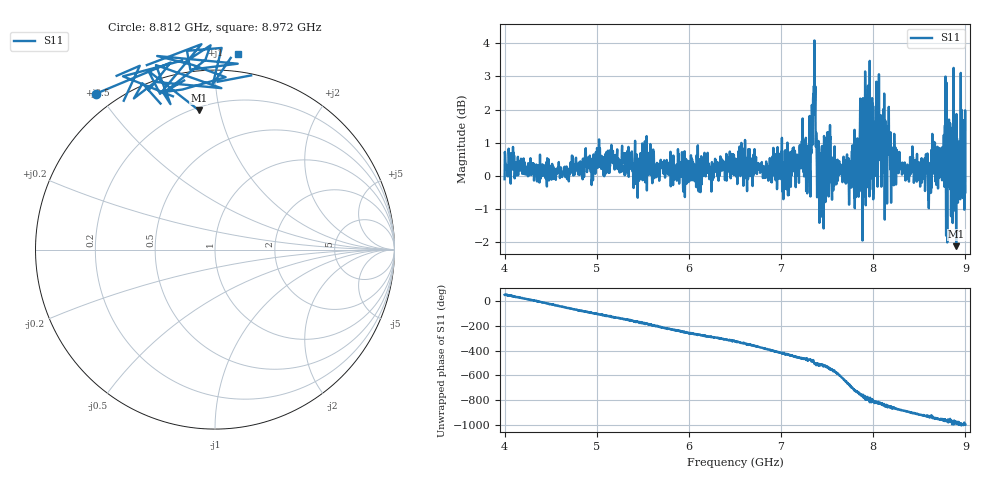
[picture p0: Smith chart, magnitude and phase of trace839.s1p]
! Created with skrf 1.8.0 (http://scikit-rf.org).
# Hz S RI R 50.0
!freq ReS11 ImS11
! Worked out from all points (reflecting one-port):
!   1601 points, 4 GHz to 9 GHz, reference 50 ohm
!   lowest |S11| = -2.1 dB at 8.9 GHz (marker M1), VSWR 8.17, Z = 10.8 + j43.4 ohm
!   phase of S11 starts at 49 deg and turns -1044 deg over the sweep
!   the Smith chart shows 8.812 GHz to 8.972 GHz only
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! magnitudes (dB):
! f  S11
! 4 GHz  -0.1
! 4.081 GHz  0.6
! 4.625 GHz  0.0
! 5.25 GHz  0.1
! 5.875 GHz  0.2
! 6.5 GHz  0.2
! 6.984 GHz  0.4
! 7.038 GHz  0.1
! 7.125 GHz  0.4
! 7.297 GHz  0.5
! 7.359 GHz  2.3
! 7.4 GHz  0.2
! 7.438 GHz  -0.3
! 7.512 GHz  1.3
! 7.566 GHz  -0.4
! 7.75 GHz  -0.3
! 7.825 GHz  0.3
! 7.969 GHz  2.0
! 7.981 GHz  -0.1
! 8.05 GHz  2.3
! 8.216 GHz  0.6
! 8.375 GHz  0.2
! 8.609 GHz  -0.4
! 8.775 GHz  1.0
! 8.844 GHz  -1.2
! 8.9 GHz  -2.1
! 8.959 GHz  2.0
! 9 GHz  -0.5
